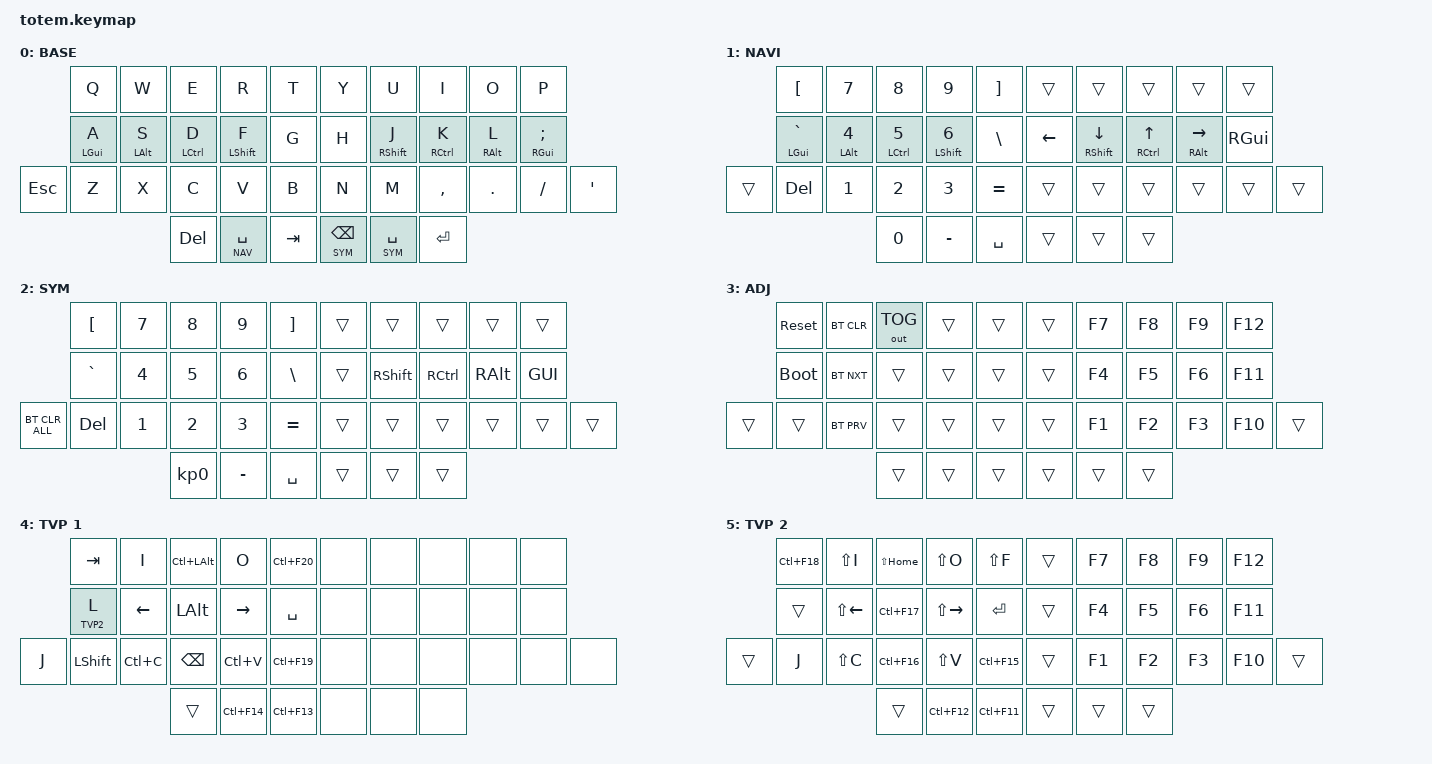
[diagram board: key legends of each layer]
//
//                                                        ▀▀▀▀▀     ▀▀▀▀▀          ▀▀█▀▀
//                                                        ▄▀▀▀▄  ▄  ▄▀▀▀▄  ▄  ▄▀▀▀▄  █  ▄▀▀▀▄
//                                                        █   █  █  █   █  █  █   █  █  █   █
//                                                         ▀▀▀   █   ▀▀▀   █   ▀▀▀   ▀   ▀▀▀
//                                                               █      ▄▄▄█▄▄▄    █   █
//                                                               ▀      █  █  █     █▄█
//                                                             ▀▀▀▀▀    █  █  █      ▀
//                                                                      ▀  ▀  ▀
//
// ▄▄▄▄▄▄▄▄▄▄▄▄▄▄▄▄▄▄▄▄▄▄▄▄▄▄▄▄▄▄▄▄▄▄▄▄▄▄▄▄▄▄▄▄▄▄▄▄▄▄▄▄▄▄▄▄▄▄▄▄▄▄▄▄▄▄▄▄▄▄▄▄▄▄▄▄▄▄▄▄▄▄▄▄▄▄▄▄▄▄▄▄▄▄▄▄▄▄▄▄▄▄▄▄▄▄▄▄▄▄▄▄▄▄▄▄▄▄▄▄▄▄▄▄▄▄▄▄▄▄▄▄▄▄▄▄▄▄▄▄▄▄▄▄▄▄▄▄▄


#include <behaviors.dtsi>
#include <dt-bindings/zmk/keys.h>
#include <dt-bindings/zmk/bt.h>
#include <dt-bindings/zmk/outputs.h>

#define BASE 0
#define NAV  1
#define SYM  2
#define ADJ  3
#define TVP1 4
#define TVP2 5

&mt {
  quick-tap-ms = <100>;
  global-quick-tap;
  flavor = "tap-preferred";
  tapping-term-ms = <170>;
};

/ {
     combos {
            compatible = "zmk,combos";
            combo_esc {
                timeout-ms = <50>;
                key-positions = <0 1>;
                bindings = <&kp ESC>;
            };
            combo_tvp {
                timeout-ms = <100>;
                key-positions = <11 12 13>;
                bindings = <&tog TVP1>;
            };
    };

    macros {
        gif: gif {
            label = "giphy";
            compatible = "zmk,behavior-macro";
            #binding-cells = <0>;
            bindings
                = <&macro_press &kp LSHFT>
                , <&macro_tap &kp N2>
                , <&macro_release &kp LSHFT>
                , <&macro_tap &kp G &kp I &kp F>
                ;
        };
    };

        keymap {
                compatible = "zmk,keymap";
// ▄▄▄▄▄▄▄▄▄▄▄▄▄▄▄▄▄▄▄▄▄▄▄▄▄▄▄▄▄▄▄▄▄▄▄▄▄▄▄▄▄▄▄▄▄▄▄▄▄▄▄▄▄▄▄▄▄▄▄▄▄▄▄▄▄▄▄▄▄▄▄▄▄▄▄▄▄▄▄▄▄▄▄▄▄▄▄▄▄▄▄▄▄▄▄▄▄▄▄▄▄▄▄▄▄▄▄▄▄▄▄▄▄▄▄▄▄▄▄▄▄▄▄▄▄▄▄▄▄▄▄▄▄▄▄▄▄▄▄▄▄▄▄▄▄▄▄▄▄

                base_layer {
// ┏━━━━━━━━━━━━━━━━━━━━━━━━━━━━━━━━━━━━━━━┓
label= "BASE"                              ;
// ┗━━━━━━━━━━━━━━━━━━━━━━━━━━━━━━━━━━━━━━━┛
//             ┏━━━━━━━━━━━┳━━━━━━━━━━━┳━━━━━━━━━━━┳━━━━━━━━━━━┳━━━━━━━━━━━┓   ┏━━━━━━━━━━━┳━━━━━━━━━━━┳━━━━━━━━━━━┳━━━━━━━━━━━┳━━━━━━━━━━━┓
//             ┃     Q     ┃     W     ┃     E     ┃     R     ┃     T     ┃   ┃     Y     ┃     U     ┃     I     ┃     O     ┃     P     ┃
//             ┣━━━━━━━━━━━╋━━━━━━━━━━━╋━━━━━━━━━━━╋━━━━━━━━━━━╋━━━━━━━━━━━┫   ┣━━━━━━━━━━━╋━━━━━━━━━━━╋━━━━━━━━━━━╋━━━━━━━━━━━╋━━━━━━━━━━━┫
//             ┃     A     ┃     S     ┃     D     ┃     F     ┃     G     ┃   ┃     H     ┃     J     ┃     K     ┃     L     ┃     ;     ┃
// ┏━━━━━━━━━━━╋━━━━━━━━━━━╋━━━━━━━━━━━╋━━━━━━━━━━━╋━━━━━━━━━━━╋━━━━━━━━━━━┫   ┣━━━━━━━━━━━╋━━━━━━━━━━━╋━━━━━━━━━━━╋━━━━━━━━━━━╋━━━━━━━━━━━╋━━━━━━━━━━━┓
// ┃    ESC    ┃     Z     ┃     X     ┃     C     ┃     V     ┃     B     ┃   ┃     N     ┃     M     ┃     ,     ┃     .     ┃     /     ┃     '     ┃
// ┗━━━━━━━━━━━┻━━━━━━━━━━━┻━━━━━━━━━━━╋━━━━━━━━━━━╋━━━━━━━━━━━╋━━━━━━━━━━━┫   ┣━━━━━━━━━━━╋━━━━━━━━━━━╋━━━━━━━━━━━╋━━━━━━━━━━━┻━━━━━━━━━━━┻━━━━━━━━━━━┛
//                                     ┃    DEL    ┃    SPC    ┃    TAB    ┃   ┃    BSPC   ┃    SPC    ┃    RET    ┃
//                                     ┗━━━━━━━━━━━┻━━━━━━━━━━━┻━━━━━━━━━━━┛   ┗━━━━━━━━━━━┻━━━━━━━━━━━┻━━━━━━━━━━━┛
 bindings = <
// ╷           ╷           ╷           ╷           ╷           ╷           ╷   ╷           ╷           ╷           ╷           ╷           ╷           ╷

                &kp Q       &kp W       &kp E       &kp R       &kp T           &kp Y         &kp U         &kp I       &kp O       &kp P
                &mt LGUI A  &mt LALT S  &mt LCTRL D &mt LSHFT F &kp G           &kp H         &mt RSHFT J   &mt RCTRL K &mt RALT L  &mt RGUI SEMI
    &kp ESC     &kp Z       &kp X       &kp C       &kp V       &kp B           &kp N         &kp M         &kp COMMA   &kp DOT     &kp FSLH   &kp SQT
                                        &kp DEL     &lt NAV SPACE &kp TAB       &lt SYM BSPC &lt SYM SPACE   &kp RET
                        >;
                };

// ▄▄▄▄▄▄▄▄▄▄▄▄▄▄▄▄▄▄▄▄▄▄▄▄▄▄▄▄▄▄▄▄▄▄▄▄▄▄▄▄▄▄▄▄▄▄▄▄▄▄▄▄▄▄▄▄▄▄▄▄▄▄▄▄▄▄▄▄▄▄▄▄▄▄▄▄▄▄▄▄▄▄▄▄▄▄▄▄▄▄▄▄▄▄▄▄▄▄▄▄▄▄▄▄▄▄▄▄▄▄▄▄▄▄▄▄▄▄▄▄▄▄▄▄▄▄▄▄▄▄▄▄▄▄▄▄▄▄▄▄▄▄▄▄▄▄▄▄▄


                nav_layer {
// ┏━━━━━━━━━━━━━━━━━━━━━━━━━━━━━━━━━━━━━━━┓
label= "NAVI"                              ;
// ┗━━━━━━━━━━━━━━━━━━━━━━━━━━━━━━━━━━━━━━━┛
//             ┏━━━━━━━━━━━┳━━━━━━━━━━━┳━━━━━━━━━━━┳━━━━━━━━━━━┳━━━━━━━━━━━┓   ┏━━━━━━━━━━━┳━━━━━━━━━━━┳━━━━━━━━━━━┳━━━━━━━━━━━┳━━━━━━━━━━━┓
//             ┃     [     ┃     7     ┃     8     ┃     9     ┃     ]     ┃   ┃           ┃           ┃           ┃           ┃           ┃
//             ┣━━━━━━━━━━━╋━━━━━━━━━━━╋━━━━━━━━━━━╋━━━━━━━━━━━╋━━━━━━━━━━━┫   ┣━━━━━━━━━━━╋━━━━━━━━━━━╋━━━━━━━━━━━╋━━━━━━━━━━━╋━━━━━━━━━━━┫
//             ┃     `     ┃     4     ┃     5     ┃     6     ┃     \     ┃   ┃    LEFT   ┃   DOWN    ┃     UP    ┃   RIGHT   ┃           ┃
// ┏━━━━━━━━━━━╋━━━━━━━━━━━╋━━━━━━━━━━━╋━━━━━━━━━━━╋━━━━━━━━━━━╋━━━━━━━━━━━┫   ┣━━━━━━━━━━━╋━━━━━━━━━━━╋━━━━━━━━━━━╋━━━━━━━━━━━╋━━━━━━━━━━━╋━━━━━━━━━━━┓
// ┃           ┃           ┃     1     ┃     2     ┃     3     ┃     =     ┃   ┃           ┃           ┃           ┃           ┃           ┃           ┃
// ┗━━━━━━━━━━━┻━━━━━━━━━━━┻━━━━━━━━━━━╋━━━━━━━━━━━╋━━━━━━━━━━━╋━━━━━━━━━━━┫   ┣━━━━━━━━━━━╋━━━━━━━━━━━╋━━━━━━━━━━━╋━━━━━━━━━━━┻━━━━━━━━━━━┻━━━━━━━━━━━┛
//                                     ┃     0     ┃     -     ┃    SPC    ┃   ┃           ┃           ┃           ┃
//                                     ┗━━━━━━━━━━━┻━━━━━━━━━━━┻━━━━━━━━━━━┛   ┗━━━━━━━━━━━┻━━━━━━━━━━━┻━━━━━━━━━━━┛
 bindings = <
// ╷        ╷                 ╷               ╷                ╷                ╷      ╷               ╷          ╷               ╷               ╷               ╷           ╷           ╷

                &kp LBKT        &kp N7          &kp N8          &kp N9                  &kp RBKT        &trans      &trans          &trans          &trans          &trans
                &mt LGUI GRAVE  &mt LALT N4     &mt LCTRL N5    &mt LSHFT N6            &kp BSLH        &kp LEFT    &mt RSHFT DOWN  &mt RCTRL UP    &mt RALT RIGHT  &kp RGUI
    &trans      &kp DEL         &kp N1          &kp N2          &kp N3                  &kp EQUAL       &trans      &trans          &trans          &trans          &trans        &trans
                                                &kp N0          &kp MINUS               &kp SPACE       &trans      &trans          &trans
                        >;
                };

// ▄▄▄▄▄▄▄▄▄▄▄▄▄▄▄▄▄▄▄▄▄▄▄▄▄▄▄▄▄▄▄▄▄▄▄▄▄▄▄▄▄▄▄▄▄▄▄▄▄▄▄▄▄▄▄▄▄▄▄▄▄▄▄▄▄▄▄▄▄▄▄▄▄▄▄▄▄▄▄▄▄▄▄▄▄▄▄▄▄▄▄▄▄▄▄▄▄▄▄▄▄▄▄▄▄▄▄▄▄▄▄▄▄▄▄▄▄▄▄▄▄▄▄▄▄▄▄▄▄▄▄▄▄▄▄▄▄▄▄▄▄▄▄▄▄▄▄▄▄


                sim_layer {
// ┏━━━━━━━━━━━━━━━━━━━━━━━━━━━━━━━━━━━━━━━┓
label= "SYM"                               ;
// ┗━━━━━━━━━━━━━━━━━━━━━━━━━━━━━━━━━━━━━━━┛
//             ┏━━━━━━━━━━━┳━━━━━━━━━━━┳━━━━━━━━━━━┳━━━━━━━━━━━┳━━━━━━━━━━━┓   ┏━━━━━━━━━━━┳━━━━━━━━━━━┳━━━━━━━━━━━┳━━━━━━━━━━━┳━━━━━━━━━━━┓
//             ┃     [     ┃     7     ┃     8     ┃     9     ┃     ]     ┃   ┃           ┃           ┃           ┃           ┃           ┃
//             ┣━━━━━━━━━━━╋━━━━━━━━━━━╋━━━━━━━━━━━╋━━━━━━━━━━━╋━━━━━━━━━━━┫   ┣━━━━━━━━━━━╋━━━━━━━━━━━╋━━━━━━━━━━━╋━━━━━━━━━━━╋━━━━━━━━━━━┫
//             ┃     `     ┃     4     ┃     5     ┃     6     ┃     \     ┃   ┃           ┃   RSHFT   ┃    RCTRL  ┃    RALT   ┃    RGUI   ┃
// ┏━━━━━━━━━━━╋━━━━━━━━━━━╋━━━━━━━━━━━╋━━━━━━━━━━━╋━━━━━━━━━━━╋━━━━━━━━━━━┫   ┣━━━━━━━━━━━╋━━━━━━━━━━━╋━━━━━━━━━━━╋━━━━━━━━━━━╋━━━━━━━━━━━╋━━━━━━━━━━━┓
// ┃           ┃    DEL    ┃     1     ┃     2     ┃     3     ┃     =     ┃   ┃           ┃           ┃           ┃           ┃           ┃           ┃
// ┗━━━━━━━━━━━┻━━━━━━━━━━━┻━━━━━━━━━━━╋━━━━━━━━━━━╋━━━━━━━━━━━╋━━━━━━━━━━━┫   ┣━━━━━━━━━━━╋━━━━━━━━━━━╋━━━━━━━━━━━╋━━━━━━━━━━━┻━━━━━━━━━━━┻━━━━━━━━━━━┛
//                                     ┃     0     ┃     -     ┃    SPC    ┃   ┃           ┃           ┃           ┃
//                                     ┗━━━━━━━━━━━┻━━━━━━━━━━━┻━━━━━━━━━━━┛   ┗━━━━━━━━━━━┻━━━━━━━━━━━┻━━━━━━━━━━━┛
 bindings = <
// ╷           ╷           ╷           ╷           ╷           ╷           ╷   ╷           ╷           ╷           ╷           ╷           ╷           ╷

                    &kp LBKT    &kp N7      &kp N8      &kp N9      &kp RBKT        &trans      &trans      &trans       &trans      &trans
                    &kp GRAVE   &kp N4      &kp N5      &kp N6      &kp BSLH        &trans      &kp RSHFT   &kp RCTRL   &kp RALT    &kp GUI
    &bt BT_CLR_ALL  &kp DEL     &kp N1      &kp N2      &kp N3      &kp EQUAL       &trans      &trans      &trans      &trans      &trans        &trans
                                            &kp KP_N0   &kp MINUS   &kp SPACE       &trans      &trans      &trans
                        >;
                };

// ▄▄▄▄▄▄▄▄▄▄▄▄▄▄▄▄▄▄▄▄▄▄▄▄▄▄▄▄▄▄▄▄▄▄▄▄▄▄▄▄▄▄▄▄▄▄▄▄▄▄▄▄▄▄▄▄▄▄▄▄▄▄▄▄▄▄▄▄▄▄▄▄▄▄▄▄▄▄▄▄▄▄▄▄▄▄▄▄▄▄▄▄▄▄▄▄▄▄▄▄▄▄▄▄▄▄▄▄▄▄▄▄▄▄▄▄▄▄▄▄▄▄▄▄▄▄▄▄▄▄▄▄▄▄▄▄▄▄▄▄▄▄▄▄▄▄▄▄▄


                adjust_layer {
// ┏━━━━━━━━━━━━━━━━━━━━━━━━━━━━━━━━━━━━━━━┓
label= "ADJ"                               ;
// ┗━━━━━━━━━━━━━━━━━━━━━━━━━━━━━━━━━━━━━━━┛
//             ┏━━━━━━━━━━━┳━━━━━━━━━━━┳━━━━━━━━━━━┳━━━━━━━━━━━┳━━━━━━━━━━━┓   ┏━━━━━━━━━━━┳━━━━━━━━━━━┳━━━━━━━━━━━┳━━━━━━━━━━━┳━━━━━━━━━━━┓
//             ┃   RESET   ┃ BT CLEAR  ┃  OUT TOG  ┃           ┃           ┃   ┃           ┃    F7     ┃    F8     ┃    F9     ┃    F12    ┃
//             ┣━━━━━━━━━━━╋━━━━━━━━━━━╋━━━━━━━━━━━╋━━━━━━━━━━━╋━━━━━━━━━━━┫   ┣━━━━━━━━━━━╋━━━━━━━━━━━╋━━━━━━━━━━━╋━━━━━━━━━━━╋━━━━━━━━━━━┫
//             ┃ BOOTLOAD  ┃ BT NEXT   ┃           ┃           ┃           ┃   ┃           ┃    F4     ┃    F5     ┃    F6     ┃    F11    ┃
// ┏━━━━━━━━━━━╋━━━━━━━━━━━╋━━━━━━━━━━━╋━━━━━━━━━━━╋━━━━━━━━━━━╋━━━━━━━━━━━┫   ┣━━━━━━━━━━━╋━━━━━━━━━━━╋━━━━━━━━━━━╋━━━━━━━━━━━╋━━━━━━━━━━━╋━━━━━━━━━━━┓
// ┃           ┃           ┃ BT PREV   ┃           ┃           ┃           ┃   ┃           ┃    F1     ┃    F2     ┃    F3     ┃    F10    ┃           ┃
// ┗━━━━━━━━━━━┻━━━━━━━━━━━┻━━━━━━━━━━━╋━━━━━━━━━━━╋━━━━━━━━━━━╋━━━━━━━━━━━┫   ┣━━━━━━━━━━━╋━━━━━━━━━━━╋━━━━━━━━━━━╋━━━━━━━━━━━┻━━━━━━━━━━━┻━━━━━━━━━━━┛
//                                     ┃           ┃           ┃           ┃   ┃           ┃           ┃           ┃
//                                     ┗━━━━━━━━━━━┻━━━━━━━━━━━┻━━━━━━━━━━━┛   ┗━━━━━━━━━━━┻━━━━━━━━━━━┻━━━━━━━━━━━┛
 bindings = <
// ╷           ╷           ╷           ╷           ╷           ╷           ╷   ╷           ╷           ╷           ╷           ╷           ╷           ╷

                &sys_reset  &bt BT_CLR &out OUT_TOG &trans      &trans          &trans      &kp F7      &kp F8      &kp F9      &kp F12
                &bootloader &bt BT_NXT  &trans      &trans      &trans          &trans      &kp F4      &kp F5      &kp F6      &kp F11
    &trans      &trans      &bt BT_PRV  &trans      &trans      &trans          &trans      &kp F1      &kp F2      &kp F3      &kp F10     &trans
                                        &trans      &trans      &trans          &trans      &trans      &trans
                        >;
                };

// ▄▄▄▄▄▄▄▄▄▄▄▄▄▄▄▄▄▄▄▄▄▄▄▄▄▄▄▄▄▄▄▄▄▄▄▄▄▄▄▄▄▄▄▄▄▄▄▄▄▄▄▄▄▄▄▄▄▄▄▄▄▄▄▄▄▄▄▄▄▄▄▄▄▄▄▄▄▄▄▄▄▄▄▄▄▄▄▄▄▄▄▄▄▄▄▄▄▄▄▄▄▄▄▄▄▄▄▄▄▄▄▄▄▄▄▄▄▄▄▄▄▄▄▄▄▄▄▄▄▄▄▄▄▄▄▄▄▄▄▄▄▄▄▄▄▄▄▄▄


                tvp1_layer {
// ┏━━━━━━━━━━━━━━━━━━━━━━━━━━━━━━━━━━━━━━━┓
label= "TVP 1"                             ;
// ┗━━━━━━━━━━━━━━━━━━━━━━━━━━━━━━━━━━━━━━━┛
//             ┏━━━━━━━━━━━┳━━━━━━━━━━━┳━━━━━━━━━━━┳━━━━━━━━━━━┳━━━━━━━━━━━┓   ┏━━━━━━━━━━━┳━━━━━━━━━━━┳━━━━━━━━━━━┳━━━━━━━━━━━┳━━━━━━━━━━━┓
//             ┃ NEXT FILE ┃ MARK IN   ┃ ROTATE    ┃ MARK OUT  ┃ SHOW SNAP ┃   ┃           ┃           ┃           ┃           ┃           ┃
//             ┣━━━━━━━━━━━╋━━━━━━━━━━━╋━━━━━━━━━━━╋━━━━━━━━━━━╋━━━━━━━━━━━┫   ┣━━━━━━━━━━━╋━━━━━━━━━━━╋━━━━━━━━━━━╋━━━━━━━━━━━╋━━━━━━━━━━━┫
//             ┃ TVP II    ┃ LEFT      ┃ PAN       ┃ RIGHT     ┃ PLAY/FLIP ┃   ┃           ┃           ┃           ┃           ┃           ┃
// ┏━━━━━━━━━━━╋━━━━━━━━━━━╋━━━━━━━━━━━╋━━━━━━━━━━━╋━━━━━━━━━━━╋━━━━━━━━━━━┫   ┣━━━━━━━━━━━╋━━━━━━━━━━━╋━━━━━━━━━━━╋━━━━━━━━━━━╋━━━━━━━━━━━╋━━━━━━━━━━━┓
// ┃ FULLSCR   ┃ SHIFT     ┃ COPY      ┃ DELETE    ┃ PASTE     ┃ IMG MARK  ┃   ┃           ┃           ┃           ┃           ┃           ┃           ┃
// ┗━━━━━━━━━━━┻━━━━━━━━━━━┻━━━━━━━━━━━╋━━━━━━━━━━━╋━━━━━━━━━━━╋━━━━━━━━━━━┫   ┣━━━━━━━━━━━╋━━━━━━━━━━━╋━━━━━━━━━━━╋━━━━━━━━━━━┻━━━━━━━━━━━┻━━━━━━━━━━━┛
//                                     ┃           ┃ UNDO/SAVE ┃  SEL/MOV  ┃   ┃           ┃           ┃           ┃
//                                     ┗━━━━━━━━━━━┻━━━━━━━━━━━┻━━━━━━━━━━━┛   ┗━━━━━━━━━━━┻━━━━━━━━━━━┻━━━━━━━━━━━┛
 bindings = <
// ╷           ╷           ╷           ╷           ╷           ╷           ╷   ╷           ╷           ╷           ╷           ╷           ╷           ╷

                &kp TAB     &kp I       &kp LC(LALT) &kp O      &kp LC(F20)     &none       &none       &none       &none       &none
                &lt TVP2 L  &kp LEFT    &kp LALT    &kp RIGHT   &kp SPACE       &none       &none       &none       &none       &none
    &kp J       &kp LSHFT   &kp LC(C)   &kp BSPC    &kp LC(V)   &kp LC(F19)     &none       &none       &none       &none       &none       &none
                                        &trans      &kp LC(F14) &kp LC(F13)     &none       &none       &none
                        >;
                };

// ▄▄▄▄▄▄▄▄▄▄▄▄▄▄▄▄▄▄▄▄▄▄▄▄▄▄▄▄▄▄▄▄▄▄▄▄▄▄▄▄▄▄▄▄▄▄▄▄▄▄▄▄▄▄▄▄▄▄▄▄▄▄▄▄▄▄▄▄▄▄▄▄▄▄▄▄▄▄▄▄▄▄▄▄▄▄▄▄▄▄▄▄▄▄▄▄▄▄▄▄▄▄▄▄▄▄▄▄▄▄▄▄▄▄▄▄▄▄▄▄▄▄▄▄▄▄▄▄▄▄▄▄▄▄▄▄▄▄▄▄▄▄▄▄▄▄▄▄▄


                tvp2_layer {
// ┏━━━━━━━━━━━━━━━━━━━━━━━━━━━━━━━━━━━━━━━┓
label= "TVP 2"                             ;
// ┗━━━━━━━━━━━━━━━━━━━━━━━━━━━━━━━━━━━━━━━┛
//             ┏━━━━━━━━━━━┳━━━━━━━━━━━┳━━━━━━━━━━━┳━━━━━━━━━━━┳━━━━━━━━━━━┓   ┏━━━━━━━━━━━┳━━━━━━━━━━━┳━━━━━━━━━━━┳━━━━━━━━━━━┳━━━━━━━━━━━┓
//             ┃ SOLO      ┃ TOGGLE IN ┃ RESET ROT ┃ TOGGLE OUT┃ TAKE SNAP ┃   ┃           ┃           ┃           ┃           ┃           ┃
//             ┣━━━━━━━━━━━╋━━━━━━━━━━━╋━━━━━━━━━━━╋━━━━━━━━━━━╋━━━━━━━━━━━┫   ┣━━━━━━━━━━━╋━━━━━━━━━━━╋━━━━━━━━━━━╋━━━━━━━━━━━╋━━━━━━━━━━━┫
//             ┃ ---       ┃ LAST KEY  ┃ NEW KEY   ┃ NEXT KEY  ┃ ENTER     ┃   ┃           ┃           ┃           ┃           ┃           ┃
// ┏━━━━━━━━━━━╋━━━━━━━━━━━╋━━━━━━━━━━━╋━━━━━━━━━━━╋━━━━━━━━━━━╋━━━━━━━━━━━┫   ┣━━━━━━━━━━━╋━━━━━━━━━━━╋━━━━━━━━━━━╋━━━━━━━━━━━╋━━━━━━━━━━━╋━━━━━━━━━━━┓
// ┃           ┃ FULLSCR   ┃ CPY2BRUSH ┃ DEL HEAD  ┃ PSTinPLACE┃ BOOK MARK ┃   ┃           ┃           ┃           ┃           ┃           ┃           ┃
// ┗━━━━━━━━━━━┻━━━━━━━━━━━┻━━━━━━━━━━━╋━━━━━━━━━━━╋━━━━━━━━━━━╋━━━━━━━━━━━┫   ┣━━━━━━━━━━━╋━━━━━━━━━━━╋━━━━━━━━━━━╋━━━━━━━━━━━┻━━━━━━━━━━━┻━━━━━━━━━━━┛
//                                     ┃           ┃ REDO/SAV1 ┃TRANS/WARP ┃   ┃           ┃           ┃           ┃
//                                     ┗━━━━━━━━━━━┻━━━━━━━━━━━┻━━━━━━━━━━━┛   ┗━━━━━━━━━━━┻━━━━━━━━━━━┻━━━━━━━━━━━┛
 bindings = <
// ╷           ╷           ╷           ╷           ╷           ╷           ╷   ╷           ╷           ╷           ╷           ╷           ╷           ╷

                &kp LC(F18) &kp LS(I)  &kp LS(HOME) &kp LS(O)   &kp LS(F)       &trans      &kp F7      &kp F8      &kp F9      &kp F12
                &trans      &kp LS(LEFT) &kp LC(F17) &kp LS(RIGHT) &kp RET      &trans      &kp F4      &kp F5      &kp F6      &kp F11
    &trans      &kp J       &kp LS(C)   &kp LC(F16) &kp LS(V)   &kp LC(F15)     &trans      &kp F1      &kp F2      &kp F3      &kp F10     &trans
                                        &trans      &kp LC(F12) &kp LC(F11)     &trans      &trans      &trans
                        >;
                };
        };
};
